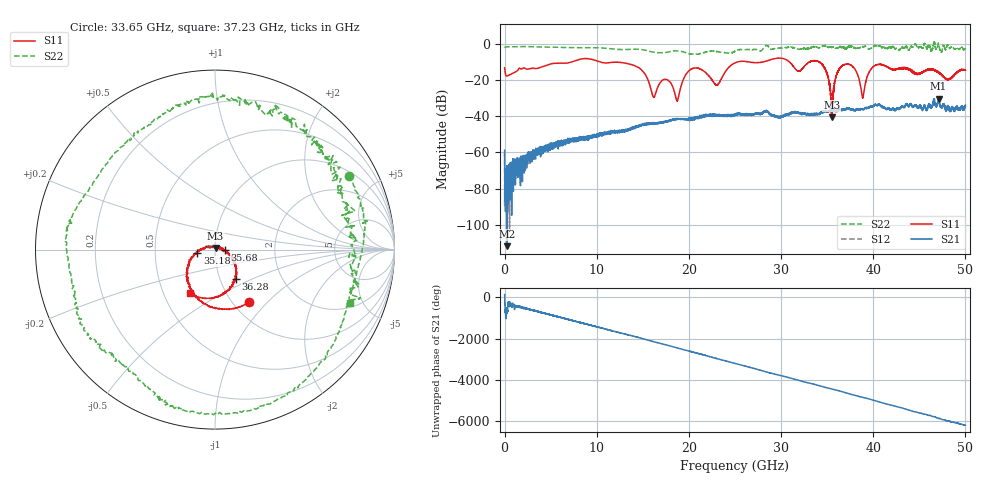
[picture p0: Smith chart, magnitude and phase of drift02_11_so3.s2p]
!Created with skrf (http://scikit-rf.org).
# Hz S RI R 50.0
!freq ReS11 ImS11 ReS21 ImS21 ReS12 ImS12 ReS22 ImS22
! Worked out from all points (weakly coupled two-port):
!   10001 points, 300 kHz to 50 GHz, reference 50 ohm
!   highest |S21| = -30.25 dB at 47.09 GHz (marker M1); lowest = -112.0 dB at 240.3 MHz (marker M2)
!   lowest |S11| = -40.5 dB at 35.51 GHz (marker M3), VSWR 1.02, Z = 50.3 + j0.883 ohm
!   |S11| at or under -10 dB: start of sweep to 7.176 GHz; 12.33 GHz to 25.16 GHz (12.83 GHz wide, 68.5 % of centre); 34.2 GHz to end of sweep (the widest 3 of 20)
!   |S22| runs from -5.7 to 2.1 dB; largest |S21 - S12| = 0.0035
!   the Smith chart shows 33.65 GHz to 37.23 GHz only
!   S11 on the Smith chart (normalised r, x): 33.65 GHz: 1.19, -0.79; 35.18 GHz: 0.82, -0.03; 35.68 GHz: 1.12, -0.00; 36.28 GHz: 1.19, -0.41; 37.23 GHz: 0.68, -0.36
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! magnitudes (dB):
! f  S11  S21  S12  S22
! 300 kHz  -13.1  -58.8  -59.6  -2.1
! 240.3 MHz  -17.6  -112.0  -71.5  -1.4
! 8.335 GHz  -8.2  -52.1  -52.0  -1.9
! 14.02 GHz  -11.7  -46.3  -46.3  -2.8
! 16.14 GHz  -29.3  -43.7  -43.7  -4.5
! 16.67 GHz  -23.2  -43.8  -43.9  -4.8
! 18.73 GHz  -31.4  -41.5  -41.7  -3.7
! 20.24 GHz  -13.8  -41.5  -41.8  -5.4
! 23.03 GHz  -22.7  -39.2  -39.2  -4.1
! 25 GHz  -10.3  -39.1  -39.1  -3.9
! 33.34 GHz  -9.3  -38.9  -38.7  -1.6
! 33.65 GHz  -9.2  -39.1  -38.7  -1.4
! 35.18 GHz  -19.9  -37.1  -37.4  -1.5
! 35.51 GHz  -40.5  -36.8  -36.8  -1.8
! 35.68 GHz  -25.3  -36.7  -36.5  -1.6
! 36.28 GHz  -13.9  -36.6  -36.7  -1.7
! 37.23 GHz  -11.0  -35.4  -35.8  -1.8
! 38.86 GHz  -29.8  -35.9  -35.8  -1.3
! 39.96 GHz  -12.7  -34.3  -34.5  -1.8
! 41.67 GHz  -13.1  -35.5  -35.7  -1.9
! 47.09 GHz  -15.8  -30.2  -30.6  0.5
! 50 GHz  -14.4  -33.9  -34.9  -2.7
